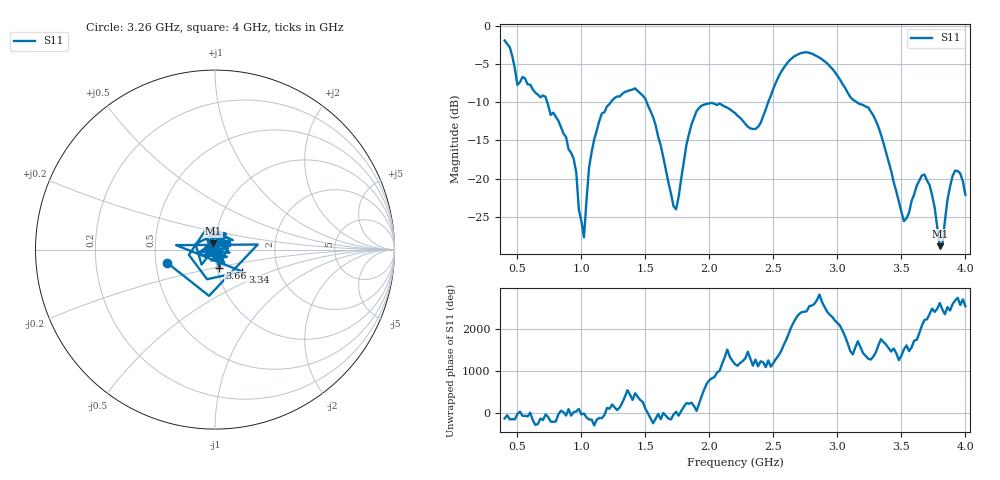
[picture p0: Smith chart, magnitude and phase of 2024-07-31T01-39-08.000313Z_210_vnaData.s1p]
!Created with skrf (http://scikit-rf.org).
# Hz S RI R 50.0
!freq ReS11 ImS11
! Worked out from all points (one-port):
!   181 points, 400 MHz to 4 GHz, reference 50 ohm
!   lowest |S11| = -28.9 dB at 3.8 GHz (marker M1), VSWR 1.07, Z = 49 + j3.42 ohm
!   |S11| at or under -10 dB: 733.2 MHz to 1.23 GHz (496.4 MHz wide, 50.6 % of centre); 1.51 GHz to 2.459 GHz (948.7 MHz wide, 47.8 % of centre); 3.152 GHz to end of sweep
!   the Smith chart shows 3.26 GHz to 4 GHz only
!   S11 on the Smith chart (normalised r, x): 3.26 GHz: 0.57, -0.09; 3.34 GHz: 1.31, -0.33; 3.66 GHz: 1.03, -0.21; 4 GHz: 1.15, +0.08
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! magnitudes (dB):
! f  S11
! 400 MHz  -1.9
! 500 MHz  -7.7
! 720 MHz  -9.3
! 860 MHz  -14.1
! 940 MHz  -17.4
! 1.02 GHz  -27.7
! 1.06 GHz  -18.5
! 1.1 GHz  -14.9
! 1.3 GHz  -9.2
! 1.5 GHz  -9.5
! 1.72 GHz  -23.6
! 1.76 GHz  -22.4
! 1.82 GHz  -15.6
! 1.9 GHz  -11.1
! 2.2 GHz  -11.4
! 2.38 GHz  -13.2
! 2.66 GHz  -4.0
! 2.88 GHz  -4.4
! 3.1 GHz  -9.3
! 3.26 GHz  -11.2
! 3.34 GHz  -14.2
! 3.52 GHz  -25.6
! 3.56 GHz  -24.5
! 3.66 GHz  -19.6
! 3.72 GHz  -20.8
! 3.8 GHz  -28.9
! 3.92 GHz  -19.0
! 4 GHz  -22.1
